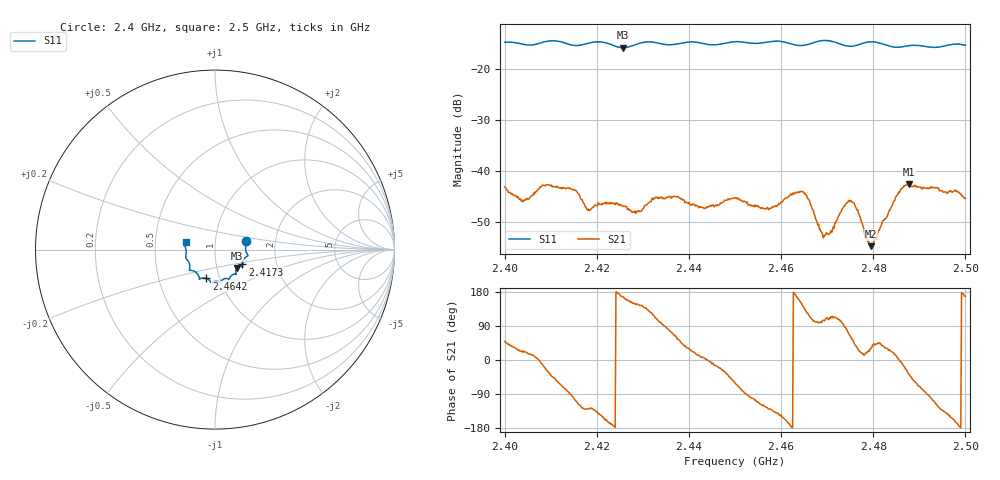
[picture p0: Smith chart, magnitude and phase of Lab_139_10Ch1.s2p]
# Hz S RI R 50
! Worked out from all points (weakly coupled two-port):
!   601 points, 2.4 GHz to 2.5 GHz, reference 50 ohm
!   highest |S21| = -42.67 dB at 2.4877 GHz (marker M1); lowest = -54.7 dB at 2.4795 GHz (marker M2)
!   lowest |S11| = -15.9 dB at 2.4257 GHz (marker M3), VSWR 1.38, Z = 62.4 - j13.1 ohm
!   |S11| at or under -10 dB: start of sweep to end of sweep
!   S12 and S22 are empty: the file has one direction only
!   S11 on the Smith chart (normalised r, x): 2.4 GHz: 1.41, +0.14; 2.4173 GHz: 1.34, -0.23; 2.4642 GHz: 0.86, -0.29; 2.5 GHz: 0.72, +0.06
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2.4e9  0.1735 0.0491  0.00456 0.00527  0 0  0 0
2.404e9  0.1713 0.025  0.00468 0.00174  0 0  0 0
2.4095e9  0.1831 -0.031  0.00617 -0.00387  0 0  0 0
2.415e9  0.1589 -0.056  -0.00117 -0.00647  0 0  0 0
2.416667e9  0.1526 -0.0751  -0.00294 -0.00432  0 0  0 0
2.417333e9  0.152 -0.0826  -0.00297 -0.00367  0 0  0 0
2.425667e9  0.1224 -0.1024  -0.00437 0.000968  0 0  0 0
2.429e9  0.1159 -0.1315  -0.0034 0.00226  0 0  0 0
2.433333e9  0.1125 -0.1365  -0.00138 0.00536  0 0  0 0
2.443333e9  0.0674 -0.1611  0.00425 0.000359  0 0  0 0
2.45e9  0.0295 -0.1806  0.00273 -0.00473  0 0  0 0
2.457333e9  -0.0156 -0.1819  -0.00265 -0.00322  0 0  0 0
2.464167e9  -0.048 -0.1609  -0.00561 0.00272  0 0  0 0
2.466667e9  -0.0762 -0.1594  -0.00137 0.00411  0 0  0 0
2.468833e9  -0.0871 -0.166  -0.000384 0.00247  0 0  0 0
2.469667e9  -0.0875 -0.1666  -0.000787 0.00224  0 0  0 0
2.475333e9  -0.1097 -0.1237  0.00281 0.00411  0 0  0 0
2.4795e9  -0.1423 -0.1149  0.00158 0.000931  0 0  0 0
2.483333e9  -0.1405 -0.0895  0.00354 0.00164  0 0  0 0
2.4855e9  -0.1471 -0.0668  0.00622 0.000146  0 0  0 0
2.487667e9  -0.1588 -0.0528  0.00592 -0.00436  0 0  0 0
2.5e9  -0.1637 0.0417  -0.00525 0.00112  0 0  0 0
